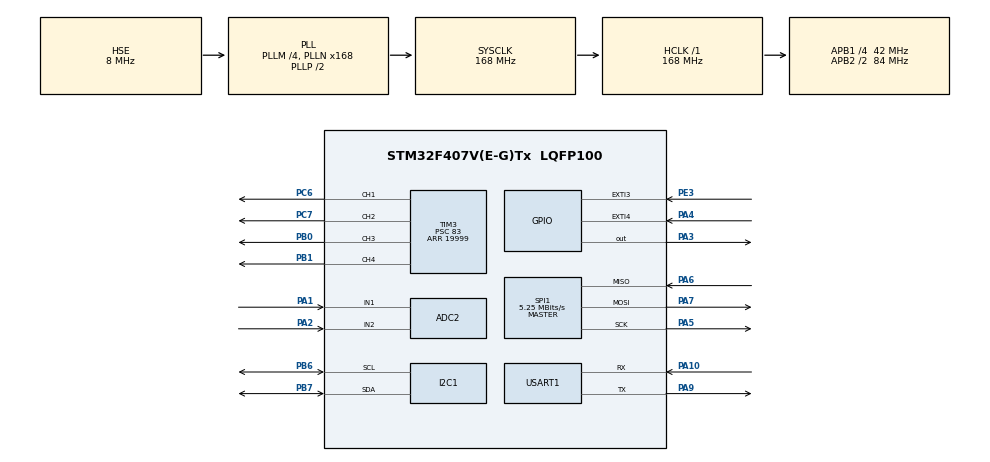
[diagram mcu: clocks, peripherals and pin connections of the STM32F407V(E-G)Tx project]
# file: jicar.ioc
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ADC2.Channel-0\#ChannelRegularConversion=ADC_CHANNEL_1
ADC2.Channel-1\#ChannelRegularConversion=ADC_CHANNEL_2
ADC2.ContinuousConvMode=ENABLE
ADC2.DMAContinuousRequests=ENABLE
ADC2.EOCSelection=ADC_EOC_SEQ_CONV
ADC2.NbrOfConversion=2
ADC2.NbrOfConversionFlag=1
ADC2.Rank-0\#ChannelRegularConversion=1
ADC2.Rank-1\#ChannelRegularConversion=2
ADC2.SamplingTime-0\#ChannelRegularConversion=ADC_SAMPLETIME_56CYCLES
ADC2.SamplingTime-1\#ChannelRegularConversion=ADC_SAMPLETIME_56CYCLES
ADC2.ScanConvMode=ENABLE
Dma.ADC2.0.Direction=DMA_PERIPH_TO_MEMORY
Dma.ADC2.0.FIFOMode=DMA_FIFOMODE_DISABLE
Dma.ADC2.0.Instance=DMA2_Stream2
Dma.ADC2.0.MemDataAlignment=DMA_MDATAALIGN_HALFWORD
Dma.ADC2.0.MemInc=DMA_MINC_ENABLE
Dma.ADC2.0.Mode=DMA_CIRCULAR
Dma.ADC2.0.PeriphDataAlignment=DMA_PDATAALIGN_HALFWORD
Dma.ADC2.0.PeriphInc=DMA_PINC_DISABLE
Dma.ADC2.0.Priority=DMA_PRIORITY_LOW
Dma.Request0=ADC2
FREERTOS.BinarySemaphores01=xx,Dynamic,NULL
FREERTOS.Tasks01=aTask,24,128,StartATask,Default,NULL,Dynamic,NULL,NULL;dTask,8,128,StartDTask,Default,NULL,Dynamic,NULL,NULL
I2C1.I2C_Mode=I2C_Fast
Mcu.Family=STM32F4
Mcu.Name=STM32F407V(E-G)Tx
Mcu.Package=LQFP100
NVIC.ADC_IRQn=true\:5\:0\:false\:false\:true\:true\:true\:true
NVIC.DMA2_Stream2_IRQn=true\:5\:0\:false\:false\:true\:true\:false\:true
NVIC.EXTI3_IRQn=true\:5\:0\:false\:false\:true\:true\:true\:true
NVIC.EXTI4_IRQn=true\:5\:0\:false\:false\:true\:true\:true\:true
NVIC.PriorityGroup=NVIC_PRIORITYGROUP_4
NVIC.TIM7_IRQn=true\:0\:0\:false\:false\:true\:false\:false\:true
NVIC.TimeBase=TIM7_IRQn
NVIC.TimeBaseIP=TIM7
PA1.Signal=ADCx_IN1
PA10.Mode=Asynchronous
PA10.Signal=USART1_RX
PA2.Signal=ADCx_IN2
PA3.Signal=GPIO_Output
PA4.GPIO_ModeDefaultEXTI=GPIO_MODE_IT_FALLING
PA4.Signal=GPXTI4
PA5.Mode=Full_Duplex_Master
PA5.Signal=SPI1_SCK
PA6.Mode=Full_Duplex_Master
PA6.Signal=SPI1_MISO
PA7.Mode=Full_Duplex_Master
PA7.Signal=SPI1_MOSI
PA9.Mode=Asynchronous
PA9.Signal=USART1_TX
PB0.Signal=S_TIM3_CH3
PB1.Signal=S_TIM3_CH4
PB6.Mode=I2C
PB6.Signal=I2C1_SCL
PB7.Mode=I2C
PB7.Signal=I2C1_SDA
PC6.Signal=S_TIM3_CH1
PC7.Signal=S_TIM3_CH2
PE3.GPIO_ModeDefaultEXTI=GPIO_MODE_IT_FALLING
PE3.GPIO_PuPd=GPIO_PULLUP
PE3.Signal=GPXTI3
PH0-OSC_IN.Mode=HSE-External-Oscillator
PH0-OSC_IN.Signal=RCC_OSC_IN
PH1-OSC_OUT.Mode=HSE-External-Oscillator
PH1-OSC_OUT.Signal=RCC_OSC_OUT
ProjectManager.HeapSize=0x600
ProjectManager.StackSize=0x600
ProjectManager.TargetToolchain=MDK-ARM V5.27
RCC.48MHZClocksFreq_Value=84000000
RCC.AHBFreq_Value=168000000
RCC.APB1CLKDivider=RCC_HCLK_DIV4
RCC.APB1Freq_Value=42000000
RCC.APB1TimFreq_Value=84000000
RCC.APB2CLKDivider=RCC_HCLK_DIV2
RCC.APB2Freq_Value=84000000
RCC.APB2TimFreq_Value=168000000
RCC.CortexFreq_Value=168000000
RCC.HCLKFreq_Value=168000000
RCC.HSE_VALUE=8000000
RCC.HSI_VALUE=16000000
RCC.LSE_VALUE=32768
RCC.PLLM=4
RCC.PLLN=168
RCC.PLLSourceVirtual=RCC_PLLSOURCE_HSE
RCC.SYSCLKFreq_VALUE=168000000
RCC.SYSCLKSource=RCC_SYSCLKSOURCE_PLLCLK
RCC.VCOOutputFreq_Value=336000000
SH.ADCx_IN1.0=ADC2_IN1,IN1
SH.ADCx_IN2.0=ADC2_IN2,IN2
SH.S_TIM3_CH1.0=TIM3_CH1,PWM Generation1 CH1
SH.S_TIM3_CH2.0=TIM3_CH2,PWM Generation2 CH2
SH.S_TIM3_CH3.0=TIM3_CH3,PWM Generation3 CH3
SH.S_TIM3_CH4.0=TIM3_CH4,PWM Generation4 CH4
SPI1.BaudRatePrescaler=SPI_BAUDRATEPRESCALER_16
SPI1.CalculateBaudRate=5.25 MBits/s
SPI1.Direction=SPI_DIRECTION_2LINES
SPI1.Mode=SPI_MODE_MASTER
SPI1.VirtualType=VM_MASTER
TIM3.Channel-PWM\ Generation1\ CH1=TIM_CHANNEL_1
TIM3.Channel-PWM\ Generation2\ CH2=TIM_CHANNEL_2
TIM3.Channel-PWM\ Generation3\ CH3=TIM_CHANNEL_3
TIM3.Channel-PWM\ Generation4\ CH4=TIM_CHANNEL_4
TIM3.Period=19999
TIM3.Prescaler=83
TIM3.Pulse-PWM\ Generation1\ CH1=1500
TIM3.Pulse-PWM\ Generation2\ CH2=1500
TIM3.Pulse-PWM\ Generation3\ CH3=1500
TIM3.Pulse-PWM\ Generation4\ CH4=1500
USART1.VirtualMode=VM_ASYNC
VP_FREERTOS_VS_CMSIS_V2.Mode=CMSIS_V2
VP_SYS_VS_tim7.Mode=TIM7
VP_TIM3_VS_ClockSourceINT.Mode=Internal
board=custom

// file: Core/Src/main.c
/* USER CODE BEGIN Header */
/**
  ******************************************************************************
  * @file           : main.c
  * @brief          : Main program body
  ******************************************************************************
  * @attention
  *
  * <h2><center>&copy; Copyright (c) 2021 STMicroelectronics.
  * All rights reserved.</center></h2>
  *
  * This software component is licensed by ST under Ultimate Liberty license
  * SLA0044, the "License"; You may not use this file except in compliance with
  * the License. You may obtain a copy of the License at:
  *                             www.st.com/SLA0044
  *
  ******************************************************************************
  */
/* USER CODE END Header */
#include "main.h"
#include "cmsis_os.h"
#include "adc.h"
#include "dma.h"
#include "i2c.h"
#include "spi.h"
#include "tim.h"
#include "usart.h"
#include "gpio.h"

void SystemClock_Config(void);
void MX_FREERTOS_Init(void);

int main(void)
{

  /* MCU Configuration--------------------------------------------------------*/

  /* Reset of all peripherals, Initializes the Flash interface and the Systick. */
  HAL_Init();

  /* Configure the system clock */
  SystemClock_Config();

  /* Initialize all configured peripherals */
  MX_GPIO_Init();
  MX_DMA_Init();
  MX_USART1_UART_Init();
  MX_I2C1_Init();
  MX_SPI1_Init();
  MX_ADC2_Init();
  MX_TIM3_Init();
  /* USER CODE BEGIN 2 */
	  InitA7131();
			OLED_Init();
	HAL_TIM_PWM_Start(&htim3,TIM_CHANNEL_1);
	HAL_TIM_PWM_Start(&htim3,TIM_CHANNEL_2);
	HAL_TIM_PWM_Start(&htim3,TIM_CHANNEL_3);
	HAL_TIM_PWM_Start(&htim3,TIM_CHANNEL_4);
//			__HAL_TIM_SET_COMPARE(&htim3, TIM_CHANNEL_1,a);
  /* USER CODE END 2 */

  /* Init scheduler */
  osKernelInitialize();  /* Call init function for freertos objects (in freertos.c) */
  MX_FREERTOS_Init();
  /* Start scheduler */
  osKernelStart();

  /* We should never get here as control is now taken by the scheduler */
  /* Infinite loop */
  while (1)
  {

  }
}

void SystemClock_Config(void)
{
  RCC_OscInitTypeDef RCC_OscInitStruct = {0};
  RCC_ClkInitTypeDef RCC_ClkInitStruct = {0};

  /** Configure the main internal regulator output voltage
  */
  __HAL_RCC_PWR_CLK_ENABLE();
  __HAL_PWR_VOLTAGESCALING_CONFIG(PWR_REGULATOR_VOLTAGE_SCALE1);
  /** Initializes the RCC Oscillators according to the specified parameters
  * in the RCC_OscInitTypeDef structure.
  */
  RCC_OscInitStruct.OscillatorType = RCC_OSCILLATORTYPE_HSE;
  RCC_OscInitStruct.HSEState = RCC_HSE_ON;
  RCC_OscInitStruct.PLL.PLLState = RCC_PLL_ON;
  RCC_OscInitStruct.PLL.PLLSource = RCC_PLLSOURCE_HSE;
  RCC_OscInitStruct.PLL.PLLM = 4;
  RCC_OscInitStruct.PLL.PLLN = 168;
  RCC_OscInitStruct.PLL.PLLP = RCC_PLLP_DIV2;
  RCC_OscInitStruct.PLL.PLLQ = 4;
  if (HAL_RCC_OscConfig(&RCC_OscInitStruct) != HAL_OK)
  {
    Error_Handler();
  }
  /** Initializes the CPU, AHB and APB buses clocks
  */
  RCC_ClkInitStruct.ClockType = RCC_CLOCKTYPE_HCLK|RCC_CLOCKTYPE_SYSCLK
                              |RCC_CLOCKTYPE_PCLK1|RCC_CLOCKTYPE_PCLK2;
  RCC_ClkInitStruct.SYSCLKSource = RCC_SYSCLKSOURCE_PLLCLK;
  RCC_ClkInitStruct.AHBCLKDivider = RCC_SYSCLK_DIV1;
  RCC_ClkInitStruct.APB1CLKDivider = RCC_HCLK_DIV4;
  RCC_ClkInitStruct.APB2CLKDivider = RCC_HCLK_DIV2;

  if (HAL_RCC_ClockConfig(&RCC_ClkInitStruct, FLASH_LATENCY_5) != HAL_OK)
  {
    Error_Handler();
  }
}

 /**
  * @brief  Period elapsed callback in non blocking mode
  * @note   This function is called  when TIM7 interrupt took place, inside
  * HAL_TIM_IRQHandler(). It makes a direct call to HAL_IncTick() to increment
  * a global variable "uwTick" used as application time base.
  * @param  htim : TIM handle
  * @retval None
  */
void HAL_TIM_PeriodElapsedCallback(TIM_HandleTypeDef *htim)
{
  if (htim->Instance == TIM7) {
    HAL_IncTick();
  }
}

void Error_Handler(void)
{
  __disable_irq();
  while (1)
  {
  }
}

/************************ (C) COPYRIGHT STMicroelectronics *****END OF FILE****/

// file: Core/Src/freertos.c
/* USER CODE BEGIN Header */
/**
  ******************************************************************************
  * File Name          : freertos.c
  * Description        : Code for freertos applications
  ******************************************************************************
  * @attention
  *
  * <h2><center>&copy; Copyright (c) 2021 STMicroelectronics.
  * All rights reserved.</center></h2>
  *
  * This software component is licensed by ST under Ultimate Liberty license
  * SLA0044, the "License"; You may not use this file except in compliance with
  * the License. You may obtain a copy of the License at:
  *                             www.st.com/SLA0044
  *
  ******************************************************************************
  */
/* USER CODE END Header */

#include "FreeRTOS.h"
#include "task.h"
#include "main.h"
#include "cmsis_os.h"

/* USER CODE BEGIN Includes */
#include "tim.h"
/* USER CODE END Includes */

/* Definitions for aTask */
osThreadId_t aTaskHandle;
const osThreadAttr_t aTask_attributes = {
  .name = "aTask",
  .stack_size = 128 * 4,
  .priority = (osPriority_t) osPriorityNormal,
};
/* Definitions for dTask */
osThreadId_t dTaskHandle;
const osThreadAttr_t dTask_attributes = {
  .name = "dTask",
  .stack_size = 128 * 4,
  .priority = (osPriority_t) osPriorityLow,
};
/* Definitions for xx */
osSemaphoreId_t xxHandle;
const osSemaphoreAttr_t xx_attributes = {
  .name = "xx"
};

void StartATask(void *argument);
void StartDTask(void *argument);

void MX_FREERTOS_Init(void); /* (MISRA C 2004 rule 8.1) */

void MX_FREERTOS_Init(void) {

  /* Create the semaphores(s) */
  /* creation of xx */
  xxHandle = osSemaphoreNew(1, 1, &xx_attributes);

  /* Create the thread(s) */
  /* creation of aTask */
  aTaskHandle = osThreadNew(StartATask, NULL, &aTask_attributes);

  /* creation of dTask */
  dTaskHandle = osThreadNew(StartDTask, NULL, &dTask_attributes);

}

void StartATask(void *argument)
{
  /* USER CODE BEGIN StartATask */
	oled_clear();
	display_string(3,3,"7131");
	display_gra();

		int ReceiveTimeout=0;
		int SendTimeout=0;
	unsigned char fr=0;
	A7131_WriteReg( PLL1_REG, fr);
  /* Infinite loop */
  for(;;)
  {
			if(ReceiveTimeout==0){
				StrobeCmd(CMD_RX);
			}
			if(osSemaphoreAcquire(xxHandle,20)==osOK){
				ReceiveTimeout=0;
			}else{
				ReceiveTimeout=1;
			}
			if(ReceiveTimeout==1){

				continue;
			}
			if((A7131_ReadReg(MODE_REG)&0x20)==0)
			{
					ReadFIFO(64);
				int a=RfBuf[0]+RfBuf[1]*256;
				int b=RfBuf[2]+RfBuf[3]*256;
				int c=RfBuf[4]+RfBuf[5]*256;
				int d=RfBuf[6]+RfBuf[7]*256;
				__HAL_TIM_SET_COMPARE(&htim3, TIM_CHANNEL_1,a*2);
				__HAL_TIM_SET_COMPARE(&htim3, TIM_CHANNEL_2,b*2);
				__HAL_TIM_SET_COMPARE(&htim3, TIM_CHANNEL_3,c*2);
				__HAL_TIM_SET_COMPARE(&htim3, TIM_CHANNEL_4,d*2);

					WriteThing(RfBuf);

					StrobeCmd(CMD_TX);
					osSemaphoreAcquire(xxHandle,20);

			}
  }
  /* USER CODE END StartATask */
}

void StartDTask(void *argument)
{
  for(;;)
  {
    osDelay(1);
  }
}

/* USER CODE BEGIN Application */
void HAL_GPIO_EXTI_Callback(uint16_t GPIO_Pin){
    if (GPIO_Pin&GPIO_PIN_4) {
			osSemaphoreRelease(xxHandle);
		}
}
/* USER CODE END Application */

/************************ (C) COPYRIGHT STMicroelectronics *****END OF FILE****/
